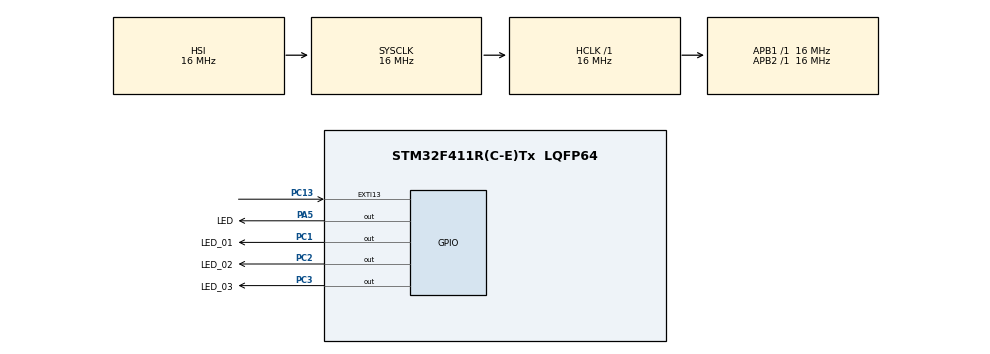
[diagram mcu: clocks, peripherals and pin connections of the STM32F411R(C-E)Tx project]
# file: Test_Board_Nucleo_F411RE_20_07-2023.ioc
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Mcu.Family=STM32F4
Mcu.Name=STM32F411R(C-E)Tx
Mcu.Package=LQFP64
NVIC.EXTI15_10_IRQn=true\:1\:0\:true\:false\:true\:true\:true
NVIC.PriorityGroup=NVIC_PRIORITYGROUP_4
PA13.Mode=Serial_Wire
PA13.Signal=SYS_JTMS-SWDIO
PA14.Mode=Serial_Wire
PA14.Signal=SYS_JTCK-SWCLK
PA5.GPIO_Label=LED
PA5.PinState=GPIO_PIN_RESET
PA5.Signal=GPIO_Output
PC1.GPIO_Label=LED_01
PC1.GPIO_PuPd=GPIO_PULLUP
PC1.PinState=GPIO_PIN_SET
PC1.Signal=GPIO_Output
PC13-ANTI_TAMP.GPIO_PuPd=GPIO_PULLUP
PC13-ANTI_TAMP.Signal=GPXTI13
PC2.GPIO_Label=LED_02
PC2.GPIO_PuPd=GPIO_PULLUP
PC2.PinState=GPIO_PIN_SET
PC2.Signal=GPIO_Output
PC3.GPIO_Label=LED_03
PC3.GPIO_PuPd=GPIO_PULLUP
PC3.PinState=GPIO_PIN_SET
PC3.Signal=GPIO_Output
ProjectManager.HeapSize=0x200
ProjectManager.StackSize=0x400
ProjectManager.TargetToolchain=STM32CubeIDE
RCC.AHBFreq_Value=16000000
RCC.APB1Freq_Value=16000000
RCC.APB2Freq_Value=16000000
RCC.CortexFreq_Value=16000000
RCC.HSE_VALUE=25000000
RCC.HSI_VALUE=16000000
RCC.LSE_VALUE=32768
RCC.SYSCLKFreq_VALUE=16000000
RCC.VCOOutputFreq_Value=192000000
board=custom

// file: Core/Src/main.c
/* USER CODE BEGIN Header */
/**
  ******************************************************************************
  * @file           : main.c
  * @brief          : Main program body
  ******************************************************************************
  * @attention
  *
  * <h2><center>&copy; Copyright (c) 2023 STMicroelectronics.
  * All rights reserved.</center></h2>
  *
  * This software component is licensed by ST under BSD 3-Clause license,
  * the "License"; You may not use this file except in compliance with the
  * License. You may obtain a copy of the License at:
  *                        opensource.org/licenses/BSD-3-Clause
  *
  ******************************************************************************
  */
/* USER CODE END Header */
#include "main.h"

/* USER CODE BEGIN PV */
volatile int state = 0;
/* USER CODE END PV */

void SystemClock_Config(void);
static void MX_GPIO_Init(void);

int main(void)
{

  /* MCU Configuration--------------------------------------------------------*/

  /* Reset of all peripherals, Initializes the Flash interface and the Systick. */
  HAL_Init();

  /* Configure the system clock */
  SystemClock_Config();

  /* Initialize all configured peripherals */
  MX_GPIO_Init();

  /* Infinite loop */
  while (1)
  {

    /* USER CODE BEGIN 3 */
	  if (state == 1){
		 HAL_GPIO_WritePin(LED_01_GPIO_Port, LED_01_Pin, GPIO_PIN_RESET);
		 HAL_GPIO_WritePin(LED_02_GPIO_Port, LED_02_Pin, GPIO_PIN_SET);
		 HAL_GPIO_WritePin(LED_03_GPIO_Port, LED_03_Pin, GPIO_PIN_SET);
	  }
	  if (state == 2){
		 HAL_GPIO_WritePin(LED_01_GPIO_Port, LED_01_Pin, GPIO_PIN_SET);
		 HAL_GPIO_WritePin(LED_02_GPIO_Port, LED_02_Pin, GPIO_PIN_RESET);
		 HAL_GPIO_WritePin(LED_03_GPIO_Port, LED_03_Pin, GPIO_PIN_SET);
	  }
	  if (state == 3){
		 HAL_GPIO_WritePin(LED_01_GPIO_Port, LED_01_Pin, GPIO_PIN_SET);
		 HAL_GPIO_WritePin(LED_02_GPIO_Port, LED_02_Pin, GPIO_PIN_SET);
		 HAL_GPIO_WritePin(LED_03_GPIO_Port, LED_03_Pin, GPIO_PIN_RESET);
	  }

  }
  /* USER CODE END 3 */
}

void SystemClock_Config(void)
{
  RCC_OscInitTypeDef RCC_OscInitStruct = {0};
  RCC_ClkInitTypeDef RCC_ClkInitStruct = {0};

  /** Configure the main internal regulator output voltage
  */
  __HAL_RCC_PWR_CLK_ENABLE();
  __HAL_PWR_VOLTAGESCALING_CONFIG(PWR_REGULATOR_VOLTAGE_SCALE1);
  /** Initializes the RCC Oscillators according to the specified parameters
  * in the RCC_OscInitTypeDef structure.
  */
  RCC_OscInitStruct.OscillatorType = RCC_OSCILLATORTYPE_HSI;
  RCC_OscInitStruct.HSIState = RCC_HSI_ON;
  RCC_OscInitStruct.HSICalibrationValue = RCC_HSICALIBRATION_DEFAULT;
  RCC_OscInitStruct.PLL.PLLState = RCC_PLL_NONE;
  if (HAL_RCC_OscConfig(&RCC_OscInitStruct) != HAL_OK)
  {
    Error_Handler();
  }
  /** Initializes the CPU, AHB and APB buses clocks
  */
  RCC_ClkInitStruct.ClockType = RCC_CLOCKTYPE_HCLK|RCC_CLOCKTYPE_SYSCLK
                              |RCC_CLOCKTYPE_PCLK1|RCC_CLOCKTYPE_PCLK2;
  RCC_ClkInitStruct.SYSCLKSource = RCC_SYSCLKSOURCE_HSI;
  RCC_ClkInitStruct.AHBCLKDivider = RCC_SYSCLK_DIV1;
  RCC_ClkInitStruct.APB1CLKDivider = RCC_HCLK_DIV1;
  RCC_ClkInitStruct.APB2CLKDivider = RCC_HCLK_DIV1;

  if (HAL_RCC_ClockConfig(&RCC_ClkInitStruct, FLASH_LATENCY_0) != HAL_OK)
  {
    Error_Handler();
  }
}

static void MX_GPIO_Init(void)
{
  GPIO_InitTypeDef GPIO_InitStruct = {0};

  /* GPIO Ports Clock Enable */
  __HAL_RCC_GPIOC_CLK_ENABLE();
  __HAL_RCC_GPIOA_CLK_ENABLE();

  /*Configure GPIO pin Output Level */
  HAL_GPIO_WritePin(GPIOC, LED_01_Pin|LED_02_Pin|LED_03_Pin, GPIO_PIN_SET);

  /*Configure GPIO pin Output Level */
  HAL_GPIO_WritePin(LED_GPIO_Port, LED_Pin, GPIO_PIN_RESET);

  /*Configure GPIO pin : PC13 */
  GPIO_InitStruct.Pin = GPIO_PIN_13;
  GPIO_InitStruct.Mode = GPIO_MODE_IT_RISING;
  GPIO_InitStruct.Pull = GPIO_PULLUP;
  HAL_GPIO_Init(GPIOC, &GPIO_InitStruct);

  /*Configure GPIO pins : LED_01_Pin LED_02_Pin LED_03_Pin */
  GPIO_InitStruct.Pin = LED_01_Pin|LED_02_Pin|LED_03_Pin;
  GPIO_InitStruct.Mode = GPIO_MODE_OUTPUT_PP;
  GPIO_InitStruct.Pull = GPIO_PULLUP;
  GPIO_InitStruct.Speed = GPIO_SPEED_FREQ_LOW;
  HAL_GPIO_Init(GPIOC, &GPIO_InitStruct);

  /*Configure GPIO pin : LED_Pin */
  GPIO_InitStruct.Pin = LED_Pin;
  GPIO_InitStruct.Mode = GPIO_MODE_OUTPUT_PP;
  GPIO_InitStruct.Pull = GPIO_NOPULL;
  GPIO_InitStruct.Speed = GPIO_SPEED_FREQ_LOW;
  HAL_GPIO_Init(LED_GPIO_Port, &GPIO_InitStruct);

  /* EXTI interrupt init*/
  HAL_NVIC_SetPriority(EXTI15_10_IRQn, 1, 0);
  HAL_NVIC_EnableIRQ(EXTI15_10_IRQn);

}

/* USER CODE BEGIN 4 */

void HAL_GPIO_EXTI_Callback(uint16_t GPIO_Pin)
{
 /* Prevent unused argument(s) compilation warning */
 UNUSED(GPIO_Pin);
 /* NOTE: This function Should not be modified, when the callback is needed,
          the HAL_GPIO_EXTI_Callback could be implemented in the user file
  */
 if (GPIO_Pin == GPIO_PIN_13){
	 state += 1;
	 if (state == 4){
		 state = 1;
	 }
 }
}

/* USER CODE END 4 */

void Error_Handler(void)
{
  __disable_irq();
  while (1)
  {
  }
}

/************************ (C) COPYRIGHT STMicroelectronics *****END OF FILE****/
